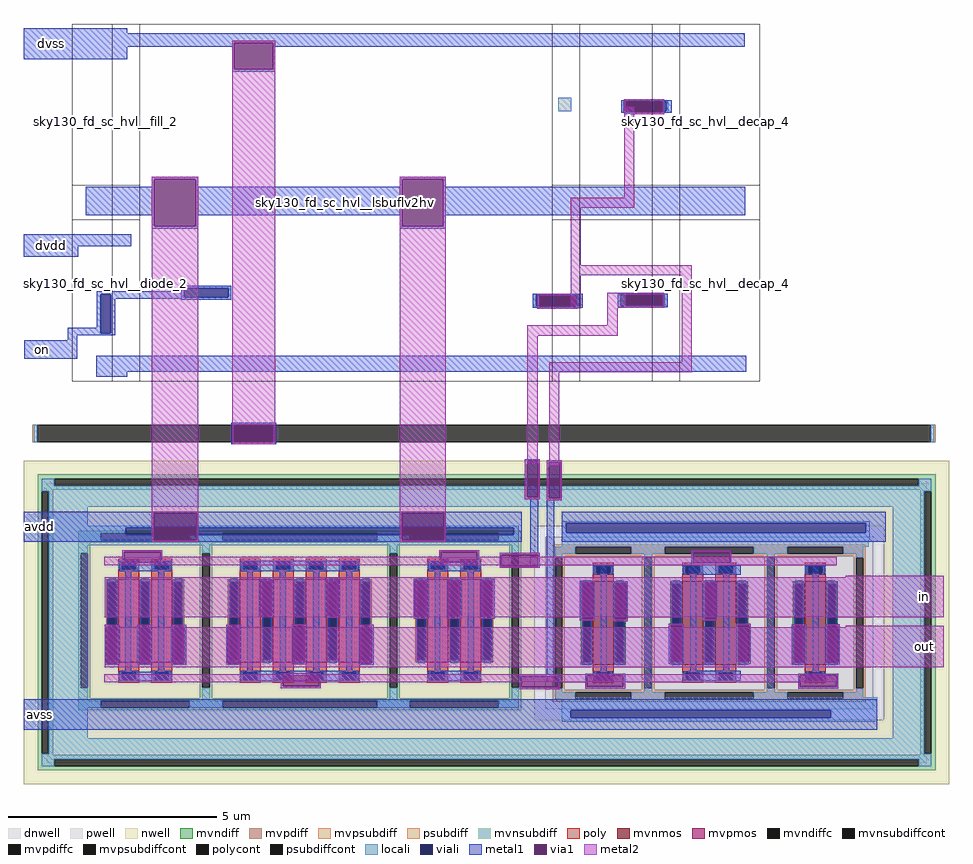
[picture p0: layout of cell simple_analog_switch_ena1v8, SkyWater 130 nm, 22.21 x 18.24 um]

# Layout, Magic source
magic
tech sky130A
magscale 1 2
<< psubdiff >>
rect 41 1640 65 1724
rect 4354 1640 4378 1724
<< psubdiffcont >>
rect 65 1640 4354 1724
<< locali >>
rect 2566 3229 2629 3295
rect 2879 3275 3095 3283
rect 2879 3230 2890 3275
rect 3085 3230 3095 3275
rect 2879 3221 3095 3230
rect 756 2379 996 2392
rect 756 2337 770 2379
rect 982 2337 996 2379
rect 756 2324 996 2337
rect 2444 2347 2684 2353
rect 2444 2295 2460 2347
rect 2668 2295 2684 2347
rect 2444 2287 2684 2295
rect 2851 2348 3091 2354
rect 2851 2296 2867 2348
rect 3075 2296 3091 2348
rect 2851 2288 3091 2296
rect 49 1640 65 1724
rect 4354 1640 4370 1724
<< viali >>
rect 2890 3230 3085 3275
rect 371 2164 418 2352
rect 770 2337 982 2379
rect 2460 2295 2668 2347
rect 2867 2296 3075 2348
rect 1009 1640 1199 1724
<< metal1 >>
rect 0 3604 498 3627
rect 0 3559 3461 3604
rect 0 3538 1011 3559
rect 0 3479 498 3538
rect 1001 3430 1011 3538
rect 1198 3538 3461 3559
rect 1198 3430 1208 3538
rect 1001 3420 1208 3430
rect 2869 3275 3111 3283
rect 2869 3230 2890 3275
rect 3085 3230 3111 3275
rect 2869 3221 3111 3230
rect 615 2903 837 2916
rect 615 2868 627 2903
rect 299 2730 627 2868
rect 615 2677 627 2730
rect 826 2868 837 2903
rect 1804 2903 2027 2916
rect 1804 2868 1816 2903
rect 826 2730 1816 2868
rect 826 2677 837 2730
rect 615 2666 837 2677
rect 1804 2678 1816 2730
rect 2013 2868 2027 2903
rect 2013 2730 3464 2868
rect 2013 2678 2027 2730
rect 1804 2666 2027 2678
rect 1 2581 517 2638
rect 1 2530 263 2581
rect 756 2379 996 2392
rect 756 2365 770 2379
rect 351 2352 770 2365
rect 351 2189 371 2352
rect 212 2164 371 2189
rect 418 2337 770 2352
rect 982 2337 996 2379
rect 418 2329 996 2337
rect 418 2164 439 2329
rect 756 2324 996 2329
rect 2444 2347 2684 2353
rect 2444 2295 2460 2347
rect 2668 2295 2684 2347
rect 2444 2287 2684 2295
rect 2851 2348 3091 2354
rect 2851 2296 2867 2348
rect 3075 2296 3091 2348
rect 2851 2288 3091 2296
rect 212 2153 439 2164
rect 212 2130 256 2153
rect 2 2041 256 2130
rect 348 1980 3468 2056
rect 348 1954 496 1980
rect 996 1724 1213 1735
rect 996 1640 1009 1724
rect 1199 1640 1213 1724
rect 996 1630 1213 1640
rect 0 1162 273 1308
rect 615 1302 837 1308
rect 615 1169 624 1302
rect 830 1169 837 1302
rect 615 1162 837 1169
rect 1805 1301 2027 1308
rect 1805 1170 1814 1301
rect 2019 1170 2027 1301
rect 1805 1162 2027 1170
rect 0 260 255 406
<< via1 >>
rect 1011 3430 1198 3559
rect 627 2677 826 2903
rect 1816 2678 2013 2903
rect 1009 1640 1199 1724
rect 624 1169 830 1302
rect 1814 1170 2019 1301
<< metal2 >>
rect 1001 3559 1208 3568
rect 1001 3430 1011 3559
rect 1198 3430 1208 3559
rect 615 2903 837 2916
rect 615 2677 627 2903
rect 826 2677 837 2903
rect 615 1302 837 2677
rect 1001 1724 1208 3430
rect 1804 2903 2027 2916
rect 1804 2678 1816 2903
rect 2013 2678 2027 2903
rect 2883 2813 2931 3252
rect 1804 2666 2027 2678
rect 1001 1640 1009 1724
rect 1199 1640 1208 1724
rect 1001 1630 1208 1640
rect 615 1169 624 1302
rect 830 1169 837 1302
rect 615 1162 837 1169
rect 1805 1301 2027 2666
rect 2626 2765 2931 2813
rect 2626 2491 2674 2765
rect 2626 2443 3206 2491
rect 2626 2283 2674 2443
rect 2816 2358 2883 2359
rect 2801 2287 2883 2358
rect 2958 2287 3006 2295
rect 2801 2202 2851 2287
rect 2418 2152 2851 2202
rect 2418 1540 2468 2152
rect 3158 2024 3206 2443
rect 2523 1976 3206 2024
rect 2523 1526 2571 1976
rect 1805 1170 1814 1301
rect 2019 1170 2027 1301
rect 1805 1162 2027 1170
rect 4118 800 4416 1000
rect 4119 561 4416 760
use iso_switch_via  iso_switch_via_0
transform 0 1 5797 1 0 2564
box 652 -2914 724 -2722
use iso_switch_via  iso_switch_via_1
transform 0 1 5380 1 0 1630
box 652 -2914 724 -2722
use iso_switch_via  iso_switch_via_2
transform 0 1 5797 1 0 1635
box 652 -2914 724 -2722
use iso_switch_via  iso_switch_via_3
transform -1 0 3130 0 1 4282
box 652 -2914 724 -2722
use iso_switch_via  iso_switch_via_13
transform -1 0 3235 0 1 4277
box 652 -2914 724 -2722
use simple_analog_switch  simple_analog_switch_0
transform 1 0 -577 0 1 -24
box 577 24 5020 1576
use sky130_fd_sc_hvl__decap_4  sky130_fd_sc_hvl__decap_4_0 $PDKPATH/libs.ref/sky130_fd_sc_hvl/mag
transform 1 0 3083 0 -1 3605
box -66 -43 450 897
use sky130_fd_sc_hvl__decap_4  sky130_fd_sc_hvl__decap_4_1
transform 1 0 3083 0 1 1977
box -66 -43 450 897
use sky130_fd_sc_hvl__diode_2  sky130_fd_sc_hvl__diode_2_0 $PDKPATH/libs.ref/sky130_fd_sc_hvl/mag
transform 1 0 299 0 1 1977
box -66 -43 258 897
use sky130_fd_sc_hvl__fill_2  sky130_fd_sc_hvl__fill_2_0 $PDKPATH/libs.ref/sky130_fd_sc_hvl/mag
transform 1 0 299 0 -1 3605
box -66 -43 258 897
use sky130_fd_sc_hvl__inv_2  sky130_fd_sc_hvl__inv_2_0 $PDKPATH/libs.ref/sky130_fd_sc_hvl/mag
transform 1 0 2603 0 1 1977
box -66 -43 546 897
use sky130_fd_sc_hvl__inv_2  sky130_fd_sc_hvl__inv_2_1
transform 1 0 2603 0 -1 3605
box -66 -43 546 897
use sky130_fd_sc_hvl__lsbuflv2hv_1  sky130_fd_sc_hvl__lsbuflv2hv_1_0 $PDKPATH/libs.ref/sky130_fd_sc_hvl/mag
transform 1 0 491 0 1 1977
box -66 -43 2178 1671
<< labels >>
flabel metal1 0 1162 156 1308 0 FreeSans 800 0 0 0 avdd
port 4 nsew
flabel metal1 0 260 156 406 0 FreeSans 800 0 0 0 avss
port 5 nsew
flabel metal1 1 2530 263 2638 0 FreeSans 800 0 0 0 dvdd
port 6 nsew
flabel metal1 0 3479 263 3627 0 FreeSans 800 0 0 0 dvss
port 7 nsew
flabel metal1 2 2041 182 2130 0 FreeSans 800 0 0 0 on
port 8 nsew
flabel metal2 4230 800 4416 1000 0 FreeSans 800 0 0 0 in
port 2 nsew
flabel metal2 4230 561 4416 760 0 FreeSans 800 0 0 0 out
port 3 nsew
<< end >>

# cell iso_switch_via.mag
magic
tech sky130A
<< metal1 >>
rect 326 -1365 362 -1361
rect 326 -1453 330 -1365
rect 357 -1453 362 -1365
rect 326 -1457 362 -1453
<< via1 >>
rect 330 -1453 357 -1365
<< metal2 >>
rect 326 -1365 362 -1361
rect 326 -1453 330 -1365
rect 357 -1453 362 -1365
rect 326 -1457 362 -1453
<< end >>

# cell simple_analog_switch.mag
magic
tech sky130A
magscale 1 2
<< dnwell >>
rect 687 127 4911 1467
<< nwell >>
rect 577 1261 5020 1576
rect 577 462 773 1261
rect 577 333 784 462
rect 4705 333 5020 1261
rect 577 24 5020 333
<< mvnsubdiff >>
rect 644 1490 4954 1510
rect 644 1456 724 1490
rect 4874 1456 4954 1490
rect 644 1436 4954 1456
rect 644 1430 718 1436
rect 644 170 664 1430
rect 698 170 718 1430
rect 644 164 718 170
rect 4880 1430 4954 1436
rect 4880 170 4900 1430
rect 4934 170 4954 1430
rect 4880 164 4954 170
rect 644 144 4954 164
rect 644 110 724 144
rect 4874 110 4954 144
rect 644 90 4954 110
<< mvnsubdiffcont >>
rect 724 1456 4874 1490
rect 664 170 698 1430
rect 4900 170 4934 1430
rect 724 110 4874 144
<< locali >>
rect 664 1456 724 1490
rect 4874 1456 4934 1490
rect 664 1430 4934 1456
rect 698 1354 4900 1430
rect 698 1263 885 1354
rect 3160 1276 4638 1286
rect 698 1255 2954 1263
rect 698 1220 1066 1255
rect 2929 1220 2954 1255
rect 698 1169 2954 1220
rect 3160 1230 3182 1276
rect 4620 1230 4638 1276
rect 3160 1196 4638 1230
rect 698 244 885 1169
rect 3160 1163 4634 1196
rect 3160 379 4673 441
rect 3160 342 3203 379
rect 4450 342 4673 379
rect 3160 324 4673 342
rect 4749 244 4900 1354
rect 698 170 4900 244
rect 664 144 4934 170
rect 664 110 724 144
rect 4874 110 4934 144
<< viali >>
rect 1066 1220 2929 1255
rect 3182 1230 4620 1276
rect 3203 342 4450 379
<< metal1 >>
rect 2981 1396 3048 1572
rect 850 1264 2968 1332
rect 849 1255 2968 1264
rect 849 1220 1066 1255
rect 2929 1220 2968 1255
rect 849 1186 2968 1220
rect 1035 1046 1285 1092
rect 1619 1046 2185 1095
rect 2519 1046 2769 1095
rect 3008 1074 3048 1396
rect 3088 1392 3156 1573
rect 1065 564 1093 1046
rect 1224 564 1252 1046
rect 1649 567 1677 1046
rect 1807 567 1835 1046
rect 1967 567 1995 1046
rect 2125 567 2153 1046
rect 2549 567 2577 1046
rect 2709 567 2737 1046
rect 1035 520 1285 564
rect 1619 520 2185 567
rect 2519 520 2769 567
rect 3088 514 3124 1392
rect 3160 1276 4714 1332
rect 3160 1230 3182 1276
rect 4620 1230 4714 1276
rect 3160 1186 4714 1230
rect 3347 520 3375 1067
rect 3770 1029 4020 1075
rect 3777 568 3805 1029
rect 3935 568 3963 1029
rect 3770 520 4020 568
rect 4365 520 4393 1067
rect 832 379 4673 430
rect 832 342 3203 379
rect 4450 342 4673 379
rect 832 284 4673 342
<< metal2 >>
rect 964 1074 4479 1114
rect 4524 1016 4722 1024
rect 965 824 4722 1016
rect 4523 776 4722 784
rect 965 584 4722 776
rect 964 512 4479 552
use iso_switch_via  iso_switch_via_0
transform 0 -1 550 -1 0 1205
box 652 -2914 724 -2722
use iso_switch_via  iso_switch_via_1
transform 1 0 1373 0 -1 -1900
box 652 -2914 724 -2722
use iso_switch_via  iso_switch_via_2
transform -1 0 4559 0 -1 -1914
box 652 -2914 724 -2722
use iso_switch_via  iso_switch_via_3
transform 1 0 1533 0 -1 -2126
box 652 -2914 724 -2722
use iso_switch_via  iso_switch_via_4
transform 1 0 1211 0 -1 -2124
box 652 -2914 724 -2722
use iso_switch_via  iso_switch_via_5
transform 1 0 897 0 -1 -2126
box 652 -2914 724 -2722
use iso_switch_via  iso_switch_via_6
transform 1 0 633 0 -1 -2126
box 652 -2914 724 -2722
use iso_switch_via  iso_switch_via_7
transform 1 0 471 0 -1 -2126
box 652 -2914 724 -2722
use iso_switch_via  iso_switch_via_8
transform 1 0 1797 0 -1 -1904
box 652 -2914 724 -2722
use iso_switch_via  iso_switch_via_9
transform 1 0 2113 0 -1 -1904
box 652 -2914 724 -2722
use iso_switch_via  iso_switch_via_10
transform 1 0 1955 0 -1 -1904
box 652 -2914 724 -2722
use iso_switch_via  iso_switch_via_11
transform 1 0 1053 0 -1 -1898
box 652 -2914 724 -2722
use iso_switch_via  iso_switch_via_12
transform 0 -1 1573 -1 0 1205
box 652 -2914 724 -2722
use iso_switch_via  iso_switch_via_13
transform 0 1 5776 1 0 410
box 652 -2914 724 -2722
use iso_switch_via  iso_switch_via_23
transform -1 0 4719 0 -1 -2120
box 652 -2914 724 -2722
use iso_switch_via  iso_switch_via_24
transform -1 0 4397 0 -1 -2120
box 652 -2914 724 -2722
use iso_switch_via  iso_switch_via_25
transform -1 0 4987 0 -1 -2124
box 652 -2914 724 -2722
use iso_switch_via  iso_switch_via_26
transform -1 0 4129 0 -1 -1916
box 652 -2914 724 -2722
use iso_switch_via  iso_switch_via_27
transform -1 0 3971 0 -1 -1914
box 652 -2914 724 -2722
use iso_switch_via  iso_switch_via_29
transform -1 0 5147 0 -1 -2124
box 652 -2914 724 -2722
use iso_switch_via  iso_switch_via_38
transform 1 0 313 0 -1 -2126
box 652 -2914 724 -2722
use iso_switch_via  iso_switch_via_41
transform 0 -1 -1671 -1 0 1799
box 652 -2914 724 -2722
use iso_switch_via  iso_switch_via_43
transform 0 1 5872 1 0 -172
box 652 -2914 724 -2722
use iso_switch_via  iso_switch_via_44
transform 0 -1 1060 -1 0 1799
box 652 -2914 724 -2722
use iso_switch_via  iso_switch_via_45
transform 0 -1 -151 -1 0 1799
box 652 -2914 724 -2722
use iso_switch_via  iso_switch_via_47
transform 0 -1 -910 -1 0 1207
box 652 -2914 724 -2722
use sky130_fd_pr__nfet_g5v0d10v5_EJGQFX  XM1 paramcells
transform -1 0 3868 0 1 797
box -357 -414 357 414
use sky130_fd_pr__nfet_g5v0d10v5_WSEQJ8  XM3 paramcells
transform -1 0 4377 0 1 797
box -278 -414 278 414
use sky130_fd_pr__nfet_g5v0d10v5_WSEQJ8  XM5
transform -1 0 3359 0 1 797
box -278 -414 278 414
use sky130_fd_pr__pfet_g5v0d10v5_KLHCT5  XM12 paramcells
transform 1 0 1902 0 1 808
box -545 -497 545 497
use sky130_fd_pr__pfet_g5v0d10v5_KL97Y6  XM14 paramcells
transform 1 0 1160 0 1 808
box -387 -497 387 497
use sky130_fd_pr__pfet_g5v0d10v5_KL97Y6  XM16
transform 1 0 2644 0 1 808
box -387 -497 387 497
<< labels >>
flabel metal1 849 1186 1049 1264 0 FreeSans 256 0 0 0 vdd
port 5 nsew
flabel metal1 832 323 1032 430 0 FreeSans 256 180 0 0 vss
port 2 nsew
flabel metal1 3088 1392 3156 1573 0 FreeSans 256 270 0 0 off
port 1 nsew
flabel metal1 2981 1396 3048 1572 0 FreeSans 256 270 0 0 on
port 0 nsew
flabel metal2 4523 584 4691 784 0 FreeSans 256 180 0 0 out
port 3 nsew
flabel metal2 4524 824 4690 1024 0 FreeSans 256 0 0 0 in
port 4 nsew
<< end >>

# cell sky130_fd_pr__nfet_g5v0d10v5_EJGQFX: kit device sky130_fd_pr__nfet_g5v0d10v5, w 2.0 l 0.5 m 1 nf 2 diffcov 100 polycov 100 guard 1 glc 0 grc 0 gtc 1 gbc 1 tbcov 100 rlcov 100 topc 1 botc 1 poverlap 0 doverlap 1 lmin 0.50 wmin 0.42 compatible {sky130_fd_pr__nfet_01v8 sky130_fd_pr__nfet_01v8_lvt sky130_fd_bs_flash__special_sonosfet_star sky130_fd_pr__nfet_g5v0d10v5 sky130_fd_pr__nfet_05v0_nvt sky130_fd_pr__nfet_03v3_nvt} full_metal 1 viasrc 100 viadrn 100 viagate 100 viagb 0 viagr 0 viagl 0 viagt 0

# cell sky130_fd_pr__nfet_g5v0d10v5_WSEQJ8: kit device sky130_fd_pr__nfet_g5v0d10v5, w 2.0 l 0.5 m 1 nf 1 diffcov 100 polycov 100 guard 1 glc 1 grc 1 gtc 1 gbc 1 tbcov 100 rlcov 100 topc 1 botc 1 poverlap 0 doverlap 1 lmin 0.50 wmin 0.42 compatible {sky130_fd_pr__nfet_01v8 sky130_fd_pr__nfet_01v8_lvt sky130_fd_bs_flash__special_sonosfet_star sky130_fd_pr__nfet_g5v0d10v5 sky130_fd_pr__nfet_05v0_nvt sky130_fd_pr__nfet_03v3_nvt} full_metal 1 viasrc 100 viadrn 100 viagate 100 viagb 0 viagr 0 viagl 0 viagt 0

# cell sky130_fd_pr__pfet_g5v0d10v5_KLHCT5: kit device sky130_fd_pr__pfet_g5v0d10v5, w 2.0 l 0.5 m 1 nf 4 diffcov 100 polycov 100 guard 1 glc 1 grc 1 gtc 1 gbc 1 tbcov 100 rlcov 100 topc 1 botc 1 poverlap 0 doverlap 1 lmin 0.50 wmin 0.42 compatible {sky130_fd_pr__pfet_01v8 sky130_fd_pr__pfet_01v8_lvt sky130_fd_pr__pfet_01v8_hvt sky130_fd_pr__pfet_g5v0d10v5} full_metal 1 viasrc 100 viadrn 100 viagate 100 viagb 0 viagr 0 viagl 0 viagt 0

# cell sky130_fd_pr__pfet_g5v0d10v5_KL97Y6: kit device sky130_fd_pr__pfet_g5v0d10v5, w 2.0 l 0.5 m 1 nf 2 diffcov 100 polycov 100 guard 1 glc 1 grc 1 gtc 1 gbc 1 tbcov 100 rlcov 100 topc 1 botc 1 poverlap 0 doverlap 1 lmin 0.50 wmin 0.42 compatible {sky130_fd_pr__pfet_01v8 sky130_fd_pr__pfet_01v8_lvt sky130_fd_pr__pfet_01v8_hvt sky130_fd_pr__pfet_g5v0d10v5} full_metal 1 viasrc 100 viadrn 100 viagate 100 viagb 0 viagr 0 viagl 0 viagt 0
